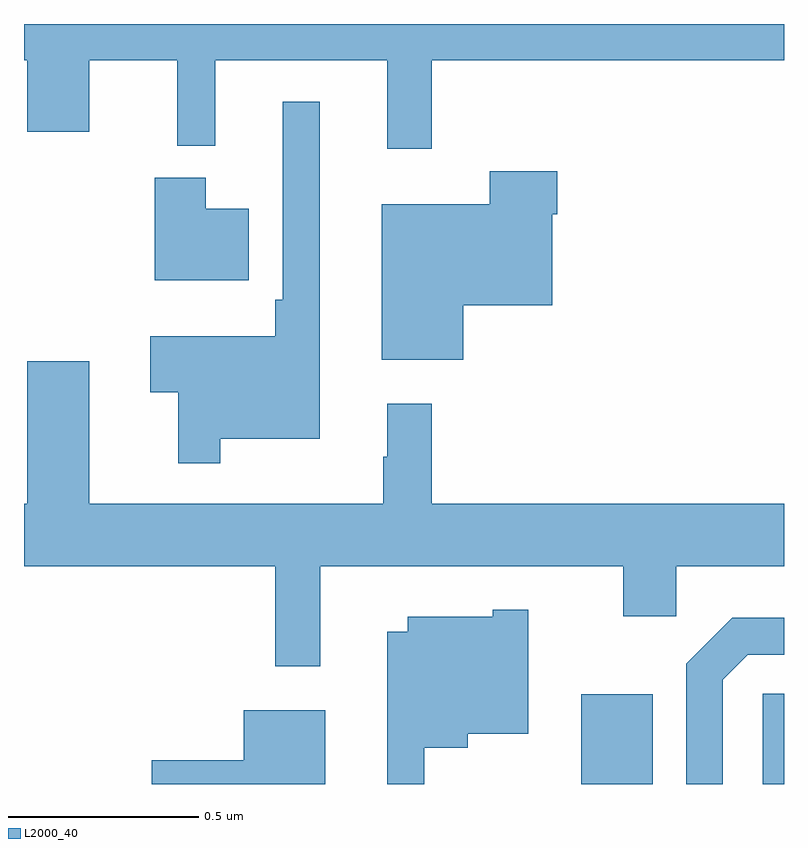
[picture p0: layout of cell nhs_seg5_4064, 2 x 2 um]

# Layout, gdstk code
import gdstk
lib = gdstk.Library(unit=1e-6, precision=1e-09)
def R(c, l, rs):  # rectangles x0, y0, x1, y1
    for r in rs: c.add(gdstk.rectangle(r[:2], r[2:], *l))
def P(c, l, *ps):  # polygons
    for p in ps: c.add(gdstk.Polygon(p, *l))
L2000_40 = (2000, 40)

nhs_seg5_4064 = lib.new_cell('nhs_seg5_4064')
R(nhs_seg5_4064, L2000_40, [(166.467,910.799,166.654,911.035), (166.944,910.799,167,911.037)])
P(nhs_seg5_4064, L2000_40, [(166.073,912.704),(167,912.704),(167,912.799),(165,912.799),(165,912.704),(165.008,912.704),(165.008,912.516),(165.172,912.516),(165.172,912.704),(165.403,912.704),(165.403,912.479),(165.503,912.479),(165.503,912.704),(165.956,912.704),(165.956,912.471),(166.073,912.471)],
  [(165.517,911.708),(165.778,911.708),(165.778,912.595),(165.681,912.595),(165.681,912.073),(165.661,912.073),(165.661,911.977),(165.332,911.977),(165.332,911.83),(165.406,911.83),(165.406,911.643),(165.517,911.643)],
  [(166.156,912.059),(166.39,912.059),(166.39,912.299),(166.403,912.299),(166.403,912.412),(166.225,912.412),(166.225,912.325),(165.941,912.325),(165.941,911.915),(166.156,911.915)],
  [(165.592,912.313),(165.478,912.313),(165.478,912.394),(165.344,912.394),(165.344,912.125),(165.592,912.125)],
  [(165.78,911.372),(166.577,911.372),(166.577,911.241),(166.716,911.241),(166.716,911.372),(167,911.372),(167,911.536),(166.073,911.536),(166.073,911.8),(165.956,911.8),(165.956,911.66),(165.945,911.66),(165.945,911.536),(165.172,911.536),(165.172,911.911),(165.008,911.911),(165.008,911.536),(165,911.536),(165,911.372),(165.661,911.372),(165.661,911.109),(165.78,911.109)],
  [(166.053,910.895),(166.168,910.895),(166.168,910.931),(166.327,910.931),(166.327,911.257),(166.233,911.257),(166.233,911.239),(166.01,911.239),(166.01,911.2),(165.956,911.2),(165.956,910.799),(166.053,910.799)],
  [(166.839,911.073),(166.905,911.139),(167,911.139),(167,911.236),(166.864,911.236),(166.743,911.115),(166.743,910.799),(166.839,910.799)],
  [(165.793,910.993),(165.578,910.993),(165.578,910.862),(165.336,910.862),(165.336,910.799),(165.793,910.799)])

lib.write_gds('nhs_seg5_4064.gds')
